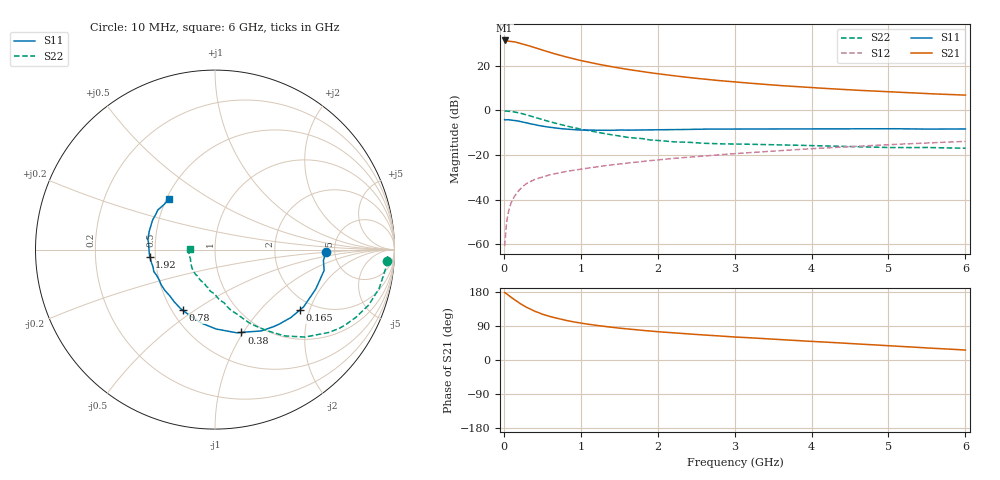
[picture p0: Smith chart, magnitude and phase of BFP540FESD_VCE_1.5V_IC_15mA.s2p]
! Infineon Technologies  Discrete & RF Semiconductors
! BFP540FESD
! VCE =  1.5 V,  IC =  15 mA
! Common Emitter S-Parameters:  Nov 2015
# GHz  S  MA  R  50
!  f  S11  S21  S12  S22
! GHz  MAG  ANG  MAG  ANG  MAG  ANG  MAG  ANG
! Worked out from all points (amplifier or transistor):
!   210 points, 10 MHz to 6 GHz, reference 50 ohm
!   highest |S21| = 31.3 dB at 10 MHz (marker M1)
!   |S21| within 3 dB of that: start of sweep to 381.6 MHz
!   unconditionally stable (mu >= 1): 1.902 GHz to end of sweep
!   at 185 MHz: K = 0.22, MSG = 33.4 dB, |S12| = -36.4 dB
!   at 1.52 GHz: K = 0.93, MSG = 21.4 dB, |S12| = -24.0 dB
!   at 6 GHz: K = 1.19, MAG = 7.7 dB, |S12| = -13.9 dB
!   S11 on the Smith chart (normalised r, x): 10 MHz: 4.21, -0.21; 165 MHz: 1.69, -1.72; 380 MHz: 0.81, -0.98; 780 MHz: 0.57, -0.45; 1.92 GHz: 0.46, -0.04; 6 GHz: 0.52, +0.34
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0.01  0.6171 -1.4  36.72 178.0  0.0009 101.8  0.9584 -3.8
0.02  0.6071 -5.7  35.45 177.0  0.0014 105.1  0.9635 -2.4
0.05  0.619 -10.8  35.69 172.4  0.0044 85.3  0.9558 -6.6
0.1  0.6029 -21.4  34.84 164.6  0.0088 81.2  0.9396 -13.4
0.165  0.5802 -35.5  33.37 155.4  0.0137 76.2  0.8974 -21.5
0.2  0.5675 -41.8  32.24 150.4  0.0162 74.4  0.8702 -25.8
0.26  0.5392 -52.8  30.2 143.2  0.0204 71.0  0.8209 -32.2
0.3  0.5211 -60.4  28.87 138.5  0.023 68.3  0.785 -36.0
0.38  0.4843 -72.3  26.05 130.9  0.027 64.6  0.7149 -42.4
0.5  0.4424 -89.2  22.44 120.9  0.0318 61.2  0.6189 -51.0
0.6  0.4165 -100.6  19.76 114.6  0.0358 59.3  0.5519 -56.1
0.78  0.3826 -118.1  16.2 105.7  0.0417 57.3  0.4597 -64.0
0.9  0.3694 -127.8  14.32 100.8  0.0449 57.1  0.4106 -68.2
1.02  0.36 -135.7  12.82 96.7  0.0481 56.9  0.372 -72.1
1.4  0.3554 -156.1  9.501 86.4  0.0597 56.0  0.2833 -84.4
1.92  0.3663 -173.9  6.881 76.2  0.0749 55.4  0.2152 -99.9
2.02  0.3672 -177.4  6.523 74.4  0.0777 54.7  0.2098 -103.4
2.6  0.3789 171.1  4.996 66.0  0.0945 53.0  0.1822 -120.5
3.1  0.3803 163.6  4.175 59.7  0.1096 51.0  0.1745 -129.1
4.1  0.3843 153.7  3.147 48.1  0.1407 46.0  0.16 -145.0
5.1  0.3855 144.0  2.552 36.5  0.1726 38.7  0.146 -161.2
6  0.3815 132.3  2.187 26.3  0.2008 31.6  0.1413 179.4
